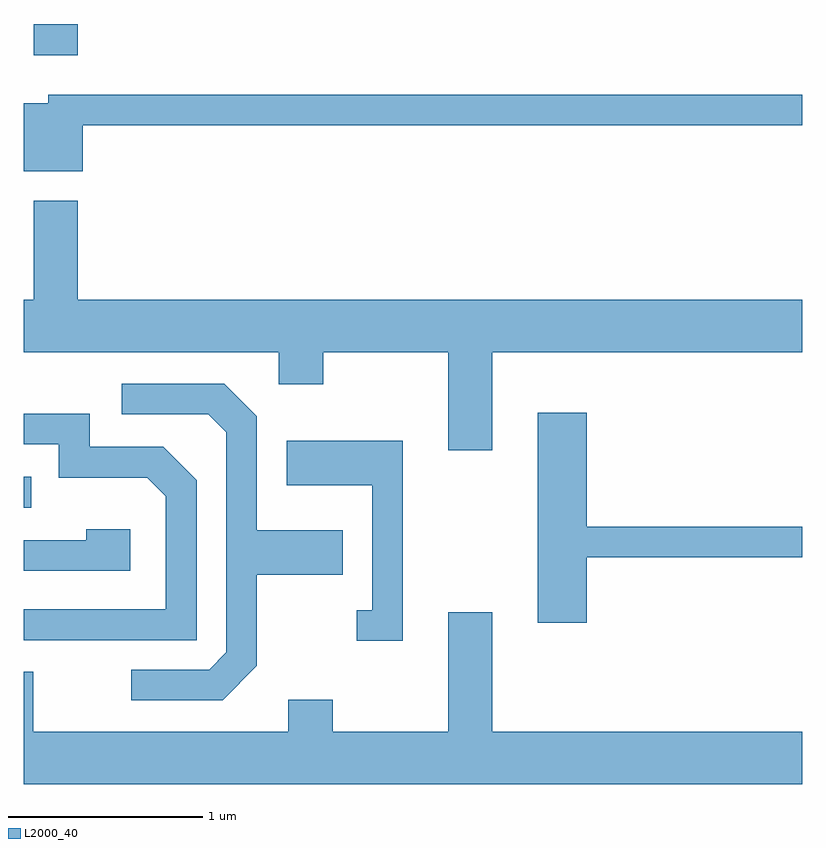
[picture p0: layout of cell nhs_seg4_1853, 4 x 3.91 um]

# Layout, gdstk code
import gdstk
lib = gdstk.Library(unit=1e-6, precision=1e-09)
def R(c, l, rs):  # rectangles x0, y0, x1, y1
    for r in rs: c.add(gdstk.rectangle(r[:2], r[2:], *l))
def P(c, l, *ps):  # polygons
    for p in ps: c.add(gdstk.Polygon(p, *l))
L2000_40 = (2000, 40)

nhs_seg4_1853 = lib.new_cell('nhs_seg4_1853')
R(nhs_seg4_1853, L2000_40, [(239.611,1289.496,239.648,1289.654), (239.661,1291.821,239.889,1291.982)])
P(nhs_seg4_1853, L2000_40, [(239.914,1291.461),(243.611,1291.461),(243.611,1291.619),(239.736,1291.619),(239.736,1291.574),(239.611,1291.574),(239.611,1291.226),(239.914,1291.226)],
  [(242.019,1290.296),(243.611,1290.296),(243.611,1290.564),(239.889,1290.564),(239.889,1291.074),(239.661,1291.074),(239.661,1290.564),(239.611,1290.564),(239.611,1290.296),(240.921,1290.296),(240.921,1290.131),(241.149,1290.131),(241.149,1290.296),(241.791,1290.296),(241.791,1289.791),(242.019,1289.791)],
  [(240.809,1288.684),(240.809,1289.151),(241.249,1289.151),(241.249,1289.379),(240.809,1289.379),(240.809,1289.967),(240.642,1290.134),(240.113,1290.134),(240.113,1289.976),(240.559,1289.976),(240.651,1289.884),(240.651,1288.752),(240.564,1288.664),(240.163,1288.664),(240.163,1288.506),(240.632,1288.506)],
  [(242.504,1289.241),(243.611,1289.241),(243.611,1289.399),(242.504,1289.399),(242.504,1289.984),(242.251,1289.984),(242.251,1288.906),(242.504,1288.906)],
  [(240.499,1289.637),(240.327,1289.809),(239.949,1289.809),(239.949,1289.979),(239.611,1289.979),(239.611,1289.821),(239.791,1289.821),(239.791,1289.651),(240.244,1289.651),(240.341,1289.554),(240.341,1288.974),(239.611,1288.974),(239.611,1288.816),(240.499,1288.816)],
  [(241.559,1289.839),(240.961,1289.839),(240.961,1289.611),(241.401,1289.611),(241.401,1288.969),(241.323,1288.969),(241.323,1288.811),(241.559,1288.811)],
  [(240.159,1289.384),(239.931,1289.384),(239.931,1289.329),(239.611,1289.329),(239.611,1289.171),(240.159,1289.171)],
  [(243.611,1288.344),(242.019,1288.344),(242.019,1288.959),(241.791,1288.959),(241.791,1288.344),(241.199,1288.344),(241.199,1288.509),(240.971,1288.509),(240.971,1288.344),(239.659,1288.344),(239.659,1288.654),(239.611,1288.654),(239.611,1288.076),(243.611,1288.076)])

lib.write_gds('nhs_seg4_1853.gds')
